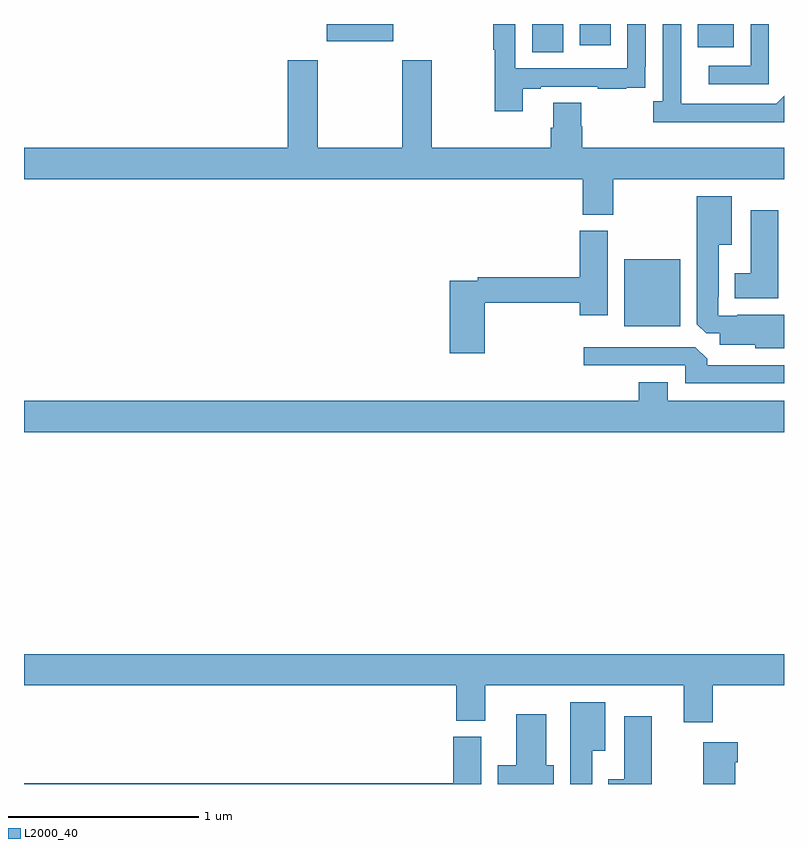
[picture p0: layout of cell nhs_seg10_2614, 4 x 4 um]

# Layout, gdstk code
import gdstk
lib = gdstk.Library(unit=1e-6, precision=1e-09)
def R(c, l, rs):  # rectangles x0, y0, x1, y1
    for r in rs: c.add(gdstk.rectangle(r[:2], r[2:], *l))
def P(c, l, *ps):  # polygons
    for p in ps: c.add(gdstk.Polygon(p, *l))
L2000_40 = (2000, 40)

nhs_seg10_2614 = lib.new_cell('nhs_seg10_2614')
R(nhs_seg10_2614, L2000_40, [(256.16,1264.91,256.453,1265.263), (255.674,1266.352,255.838,1266.5), (256.547,1266.377,256.735,1266.5), (255.926,1266.387,256.087,1266.5), (254.594,1266.41,254.944,1266.5)])
P(nhs_seg10_2614, L2000_40, [(256.92,1266.5),(256.824,1266.5),(256.824,1266.279),(256.605,1266.279),(256.605,1266.183),(256.92,1266.183)],
  [(257,1266.122),(256.959,1266.081),(256.459,1266.081),(256.459,1266.281),(256.458,1266.281),(256.458,1266.5),(256.362,1266.5),(256.362,1266.094),(256.311,1266.094),(256.311,1265.984),(257,1265.984)],
  [(255.625,1266.159),(255.721,1266.159),(255.721,1266.171),(256.021,1266.171),(256.021,1266.159),(256.169,1266.159),(256.169,1266.165),(256.271,1266.165),(256.271,1266.274),(256.272,1266.274),(256.272,1266.5),(256.176,1266.5),(256.176,1266.267),(255.585,1266.267),(255.585,1266.5),(255.469,1266.5),(255.469,1266.364),(255.477,1266.364),(255.477,1266.042),(255.625,1266.042)],
  [(256.101,1265.684),(257,1265.684),(257,1265.848),(255.938,1265.848),(255.938,1265.961),(255.933,1265.961),(255.933,1266.086),(255.785,1266.086),(255.785,1265.954),(255.773,1265.954),(255.773,1265.848),(255.147,1265.848),(255.147,1266.31),(254.992,1266.31),(254.992,1265.848),(254.547,1265.848),(254.547,1266.31),(254.387,1266.31),(254.387,1265.848),(253,1265.848),(253,1265.684),(255.941,1265.684),(255.941,1265.497),(256.101,1265.497)],
  [(257,1264.969),(256.753,1264.969),(256.753,1264.965),(256.653,1264.965),(256.653,1265.065),(256.657,1265.065),(256.657,1265.339),(256.726,1265.339),(256.726,1265.593),(256.541,1265.593),(256.541,1264.921),(256.59,1264.872),(256.661,1264.872),(256.661,1264.811),(256.848,1264.811),(256.848,1264.793),(257,1264.793)],
  [(256.969,1265.521),(256.826,1265.521),(256.826,1265.188),(256.742,1265.188),(256.742,1265.057),(256.969,1265.057)],
  [(255.425,1265.032),(255.926,1265.032),(255.926,1264.968),(256.072,1264.968),(256.072,1265.412),(255.926,1265.412),(255.926,1265.168),(255.388,1265.168),(255.388,1265.148),(255.242,1265.148),(255.242,1264.767),(255.425,1264.767)],
  [(257,1264.704),(256.595,1264.704),(256.595,1264.738),(256.533,1264.8),(255.945,1264.8),(255.945,1264.704),(256.479,1264.704),(256.479,1264.608),(257,1264.608)],
  [(257,1264.516),(256.387,1264.516),(256.387,1264.615),(256.235,1264.615),(256.235,1264.516),(253,1264.516),(253,1264.352),(257,1264.352)],
  [(256.625,1263.02),(257,1263.02),(257,1263.184),(253,1263.184),(253,1263.02),(255.275,1263.02),(255.275,1262.833),(255.427,1262.833),(255.427,1263.02),(256.472,1263.02),(256.472,1262.826),(256.625,1262.826)],
  [(255.991,1262.675),(256.06,1262.675),(256.06,1262.929),(255.875,1262.929),(255.875,1262.5),(255.991,1262.5)],
  [(255.787,1262.599),(255.748,1262.599),(255.748,1262.866),(255.59,1262.866),(255.59,1262.599),(255.494,1262.599),(255.494,1262.5),(255.787,1262.5)],
  [(256.303,1262.857),(256.16,1262.857),(256.16,1262.524),(256.076,1262.524),(256.076,1262.5),(256.303,1262.5)],
  [(255.406,1262.748),(255.26,1262.748),(255.26,1262.504),(253,1262.504),(253,1262.5),(255.406,1262.5)],
  [(256.744,1262.615),(256.757,1262.615),(256.757,1262.719),(256.574,1262.719),(256.574,1262.5),(256.744,1262.5)])

lib.write_gds('nhs_seg10_2614.gds')
